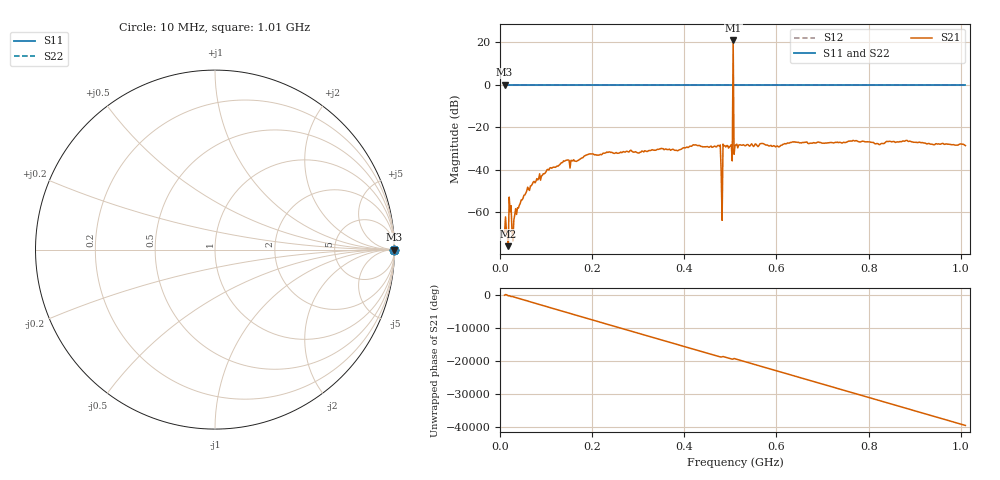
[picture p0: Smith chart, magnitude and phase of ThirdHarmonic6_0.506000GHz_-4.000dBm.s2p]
! 8/15/2025 3:18:28 PM
! C:\ANRITSUVNA\TEMP\TEMP.S2P
! CHANNEL.1
! TR.MEASUREMENT
! RAW.DATA
! RF.CORRECTION.OFF
! AVERAGING.OFF
! IF.BANDWIDTH: 5KHZ
! SWEEPTYPE:  FREQ.SWEEP(Linear)
! Reference Plane Port Info
! PORT:  PORT1  PORT2
! DISTANCE:  0  m  0  m
! TIME:  0  s  0  s
! PHASE.OFFSET:  0  deg.  0  deg.
! LOSS:  0  dB  0  dB
! REF.LOSS:  0  dB  0  dB
! REF.FREQ:  0  Hz  0  Hz
! Power Info
! POWER:  -20  dBm  -20  dBm
! EFF.POWER:  -20  dBm  -20  dBm
! SOURCE.ATTEN:  0  dB  0  dB
! TEST.ATTEN:  0  dB  0  dB
# GHZ S RI R 50.0
! FREQ.GHZ  S11RE  S11IM  S21RE  S21IM  S12RE  S12IM  S22RE  S22IM
!; PortSelection: Port_12
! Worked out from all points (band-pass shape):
!   501 points, 10 MHz to 1.01 GHz, reference 50 ohm
!   highest |S21| = 20.86 dB at 506 MHz (marker M1); lowest = -75.9 dB at 18 MHz (marker M2)
!   |S21| within 3 dB of the highest: 505.8941 MHz to 506.112 MHz (217.9 kHz wide, 0.0431 % of centre)
!   lowest |S11| = 0.0 dB at 10 MHz (marker M3)
!   |S11| at or under -10 dB: nowhere
!   |S22| runs from 0.0 to 0.0 dB; largest |S21 - S12| = 11
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0.01  1 0  6.69e-05 -0.000335  1 0  1 0
0.014  1 0  0.000282 0.000224  1 0  1 0
0.018  1 0  2.84e-05 0.000157  1 0  1 0
0.024  1 0  -0.00133 -0.000543  1 0  1 0
0.03  1 0  -0.000269 0.000598  1 0  1 0
0.036  1 0  -0.000834 -0.000313  1 0  1 0
0.056  1 0  -0.000641 0.00276  1 0  1 0
0.082  1 0  -0.00246 0.00523  1 0  1 0
0.178  1 0  -0.0188 -0.00312  1 0  1 0
0.344  1 0  0.0281 -0.0109  1 0  1 0
0.474  1 0  -0.0325 0.0187  1 0  1 0
0.478  1 0  0.0382 -0.00509  1 0  1 0
0.484  1 0  -0.0127 0.0381  1 0  1 0
0.488  1 0  0.022 -0.0298  1 0  1 0
0.5  1 0  -0.0359 -0.00436  1 0  1 0
0.502  1 0  -0.0117 0.0372  1 0  1 0
0.506  1 0  1.105 10.99  1 0  1 0
0.51  1 0  -0.0293 0.0222  1 0  1 0
0.512  1 0  0.0162 0.0354  1 0  1 0
0.678  1 0  -0.0294 -0.0304  1 0  1 0
0.844  1 0  0.0425 0.0193  1 0  1 0
1.01  1 0  -0.0368 0.00445  1 0  1 0
